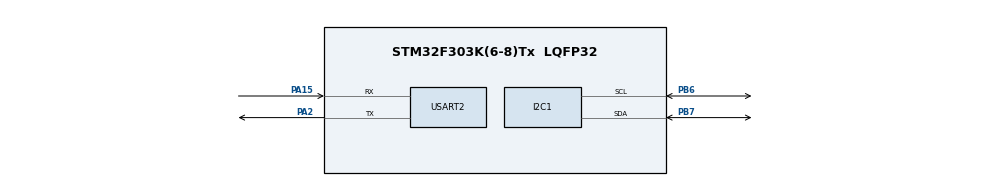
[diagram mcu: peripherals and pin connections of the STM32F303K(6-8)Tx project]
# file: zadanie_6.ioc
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I2C1.I2C_Fall_Time=0
I2C1.I2C_Rise_Time=0
I2C1.OwnAddress=1
Mcu.Family=STM32F3
Mcu.Name=STM32F303K(6-8)Tx
Mcu.Package=LQFP32
NVIC.I2C1_EV_IRQn=true\:0\:0\:false\:false\:true\:true\:true\:true
NVIC.PriorityGroup=NVIC_PRIORITYGROUP_4
PA15.Mode=Asynchronous
PA15.Signal=USART2_RX
PA2.Mode=Asynchronous
PA2.Signal=USART2_TX
PB6.GPIO_Pu=GPIO_PULLUP
PB6.Mode=I2C
PB6.Signal=I2C1_SCL
PB7.GPIO_Pu=GPIO_PULLUP
PB7.Mode=I2C
PB7.Signal=I2C1_SDA
ProjectManager.HeapSize=0x200
ProjectManager.StackSize=0x400
ProjectManager.TargetToolchain=STM32CubeIDE
RCC.AHBFreq_Value=8000000
RCC.APB1Freq_Value=8000000
RCC.APB2Freq_Value=8000000
RCC.CortexFreq_Value=8000000
RCC.HSE_VALUE=8000000
RCC.HSI_VALUE=8000000
RCC.SYSCLKFreq_VALUE=8000000
USART2.VirtualMode-Asynchronous=VM_ASYNC
board=custom

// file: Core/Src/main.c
/* USER CODE BEGIN Header */
/**
  ******************************************************************************
  * @file           : main.c
  * @brief          : Main program body
  ******************************************************************************
  * @attention
  *
  * Copyright (c) 2026 STMicroelectronics.
  * All rights reserved.
  *
  * This software is licensed under terms that can be found in the LICENSE file
  * in the root directory of this software component.
  * If no LICENSE file comes with this software, it is provided AS-IS.
  *
  ******************************************************************************
  */
/* USER CODE END Header */
#include "main.h"
#include "i2c.h"
#include "usart.h"
#include "gpio.h"

/* USER CODE BEGIN Includes */
#include "HTS221.h"
#include "LPS25HB.h"
#include <stdio.h>
/* USER CODE END Includes */

void SystemClock_Config(void);

int main(void)
{

  /* MCU Configuration--------------------------------------------------------*/

  /* Reset of all peripherals, Initializes the Flash interface and the Systick. */
  LL_APB2_GRP1_EnableClock(LL_APB2_GRP1_PERIPH_SYSCFG);
  LL_APB1_GRP1_EnableClock(LL_APB1_GRP1_PERIPH_PWR);

  /* System interrupt init*/
  NVIC_SetPriorityGrouping(NVIC_PRIORITYGROUP_4);

  /* SysTick_IRQn interrupt configuration */
  NVIC_SetPriority(SysTick_IRQn, NVIC_EncodePriority(NVIC_GetPriorityGrouping(),15, 0));

  /* Configure the system clock */
  SystemClock_Config();

  /* Initialize all configured peripherals */
  MX_GPIO_Init();
  MX_I2C1_Init();
  MX_USART2_UART_Init();
  /* USER CODE BEGIN 2 */
  hts221_register_callbacks(i2c_read, i2c_write);
  lps25hb_register_callbacks(i2c_read, i2c_write);

  uint8_t hts_ok = hts221_init();
  uint8_t lps_ok = lps25hb_init();

  if(!hts_ok || !lps_ok) Error_Handler();

  float p0, temperature, humidity, pressure, relative_altitude;
  char tx_buffer[64];

  LL_mDelay(5000);
  if(!get_pressure(&p0)) Error_Handler();
  /* USER CODE END 2 */

  /* Infinite loop */
  while (1)
  {

    /* USER CODE BEGIN 3 */
    if(get_temperature(&temperature) && get_pressure(&pressure) && get_humidity(&humidity))
	  {
    	relative_altitude =  calculate_altitude(pressure, p0);
    	uint8_t length = sprintf(tx_buffer, "%04.1f,%02.0f,%07.2f,%05.2f\r\n", temperature, humidity, pressure, relative_altitude);
	    USART2_transferData((uint8_t *)tx_buffer, length);
	  }
    LL_mDelay(1000);
  }
  /* USER CODE END 3 */
}

void SystemClock_Config(void)
{
  LL_FLASH_SetLatency(LL_FLASH_LATENCY_0);
  while(LL_FLASH_GetLatency()!= LL_FLASH_LATENCY_0)
  {
  }
  LL_RCC_HSI_Enable();

   /* Wait till HSI is ready */
  while(LL_RCC_HSI_IsReady() != 1)
  {

  }
  LL_RCC_HSI_SetCalibTrimming(16);
  LL_RCC_SetAHBPrescaler(LL_RCC_SYSCLK_DIV_1);
  LL_RCC_SetAPB1Prescaler(LL_RCC_APB1_DIV_1);
  LL_RCC_SetAPB2Prescaler(LL_RCC_APB2_DIV_1);
  LL_RCC_SetSysClkSource(LL_RCC_SYS_CLKSOURCE_HSI);

   /* Wait till System clock is ready */
  while(LL_RCC_GetSysClkSource() != LL_RCC_SYS_CLKSOURCE_STATUS_HSI)
  {

  }
  LL_Init1msTick(8000000);
  LL_SetSystemCoreClock(8000000);
  LL_RCC_SetI2CClockSource(LL_RCC_I2C1_CLKSOURCE_HSI);
}

void Error_Handler(void)
{
  __disable_irq();
  while (1)
  {
  }
}
